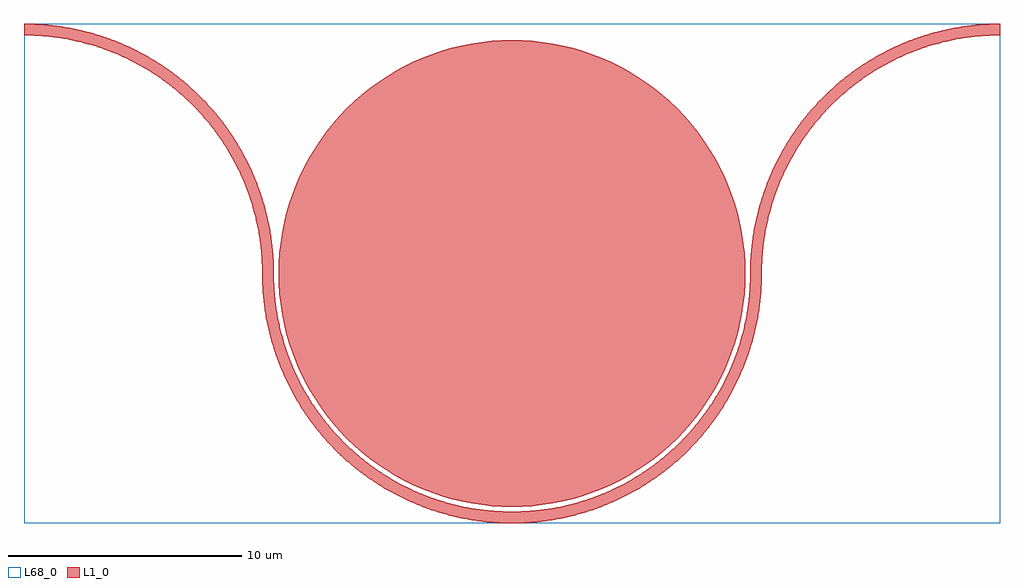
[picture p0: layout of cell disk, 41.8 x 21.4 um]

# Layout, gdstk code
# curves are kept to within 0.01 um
import gdstk
lib = gdstk.Library(unit=1e-6, precision=1e-09)
def R(c, l, rs):  # rectangles x0, y0, x1, y1
    for r in rs: c.add(gdstk.rectangle(r[:2], r[2:], *l))
def P(c, l, *ps):  # polygons
    for p in ps: c.add(gdstk.Polygon(p, *l))
L1_0 = (1, 0)
L68_0 = (68, 0)

disk = lib.new_cell('disk')
P(disk, L1_0, [(15.35,-5.101),(15.311,-4.229),(15.198,-3.364),(15.009,-2.512),(14.887,-2.093),(14.588,-1.274),(14.413,-0.874),(14.22,-0.483),(14.01,-0.101),(13.541,0.635),(13.01,1.327),(12.421,1.971),(11.777,2.56),(11.085,3.091),(10.35,3.56),(9.576,3.963),(9.176,4.138),(8.357,4.437),(7.938,4.559),(7.086,4.748),(6.221,4.861),(5.786,4.89),(5.35,4.899),(4.913,4.89),(4.478,4.861),(3.613,4.748),(2.761,4.559),(2.342,4.437),(1.523,4.138),(1.123,3.963),(0.732,3.77),(0.35,3.56),(-0.386,3.091),(-1.078,2.56),(-1.722,1.971),(-2.311,1.327),(-2.842,0.635),(-3.311,-0.101),(-3.521,-0.483),(-3.714,-0.874),(-3.889,-1.274),(-4.188,-2.093),(-4.31,-2.512),(-4.499,-3.364),(-4.612,-4.229),(-4.641,-4.664),(-4.65,-5.1),(-4.641,-5.537),(-4.612,-5.972),(-4.499,-6.837),(-4.31,-7.689),(-4.188,-8.108),(-3.889,-8.927),(-3.714,-9.327),(-3.311,-10.101),(-2.842,-10.836),(-2.311,-11.528),(-1.722,-12.172),(-1.078,-12.761),(-0.386,-13.292),(0.349,-13.761),(1.123,-14.164),(1.523,-14.339),(2.342,-14.638),(2.761,-14.76),(3.613,-14.949),(4.478,-15.062),(4.913,-15.091),(5.35,-15.1),(5.786,-15.091),(6.221,-15.062),(7.086,-14.949),(7.938,-14.76),(8.357,-14.638),(9.176,-14.339),(9.576,-14.164),(10.35,-13.761),(11.085,-13.292),(11.777,-12.761),(12.421,-12.172),(13.01,-11.528),(13.541,-10.836),(14.01,-10.101),(14.413,-9.327),(14.588,-8.927),(14.887,-8.108),(15.009,-7.689),(15.198,-6.837),(15.311,-5.972)],
  [(16.05,-5.011),(16.097,-4.117),(16.206,-3.319),(16.401,-2.446),(16.671,-1.593),(16.869,-1.094),(17.093,-0.606),(17.342,-0.13),(17.616,0.332),(17.914,0.778),(18.235,1.209),(18.578,1.622),(18.881,1.952),(18.881,2.657),(18.455,2.23),(18.019,1.737),(17.671,1.295),(17.346,0.834),(17.046,0.358),(16.686,-0.301),(16.409,-0.898),(16.202,-1.421),(15.943,-2.225),(15.748,-3.048),(15.619,-3.882),(15.556,-4.725),(15.549,-5.101),(16.05,-5.101)],
  [(18.943,2.016),(19.527,2.571),(19.94,2.914),(20.298,3.183),(21.046,3.673),(21.755,4.056),(22.243,4.28),(22.742,4.478),(23.251,4.649),(23.855,4.815),(24.468,4.943),(25,5.023),(25.623,5.08),(26.25,5.099),(26.25,5.599),(25.686,5.585),(24.938,5.519),(24.381,5.435),(23.738,5.301),(23.104,5.127),(22.57,4.947),(22.047,4.74),(21.535,4.505),(20.791,4.103),(20.159,3.697),(19.484,3.189),(18.919,2.694),(18.881,2.657),(18.881,1.952)],
  [(-8.152,2.63),(-8.498,2.947),(-8.932,3.307),(-9.307,3.589),(-9.773,3.906),(-10.255,4.197),(-10.751,4.463),(-11.608,4.847),(-12.048,5.01),(-12.495,5.154),(-13.039,5.301),(-13.498,5.401),(-13.96,5.481),(-14.519,5.55),(-14.987,5.585),(-15.551,5.599),(-15.551,5.099),(-14.924,5.08),(-14.301,5.023),(-13.769,4.943),(-13.156,4.815),(-12.552,4.649),(-12.043,4.478),(-11.544,4.28),(-11.056,4.056),(-10.347,3.673),(-9.893,3.387),(-9.526,3.13),(-8.828,2.571),(-8.498,2.268),(-8.152,1.921)],
  [(-4.851,-5.007),(-4.865,-4.537),(-4.92,-3.882),(-4.999,-3.325),(-5.087,-2.864),(-5.219,-2.316),(-5.351,-1.866),(-5.503,-1.421),(-5.71,-0.898),(-5.904,-0.47),(-6.161,0.031),(-6.444,0.518),(-6.753,0.99),(-7.085,1.444),(-7.442,1.881),(-7.82,2.298),(-8.152,2.63),(-8.152,1.921),(-7.879,1.622),(-7.536,1.209),(-7.215,0.778),(-6.917,0.332),(-6.643,-0.13),(-6.394,-0.606),(-6.17,-1.094),(-5.972,-1.593),(-5.702,-2.446),(-5.507,-3.319),(-5.427,-3.851),(-5.382,-4.296),(-5.351,-5.101),(-4.851,-5.101)],
  [(-2.034,-12.137),(-2.509,-11.604),(-3.047,-10.892),(-3.477,-10.213),(-3.89,-9.422),(-4.104,-8.932),(-4.292,-8.43),(-4.453,-7.92),(-4.588,-7.401),(-4.695,-6.877),(-4.785,-6.258),(-4.826,-5.814),(-4.851,-5.101),(-5.351,-5.101),(-5.336,-5.662),(-5.292,-6.222),(-5.203,-6.871),(-5.075,-7.514),(-4.934,-8.058),(-4.733,-8.682),(-4.532,-9.206),(-4.302,-9.719),(-3.956,-10.383),(-3.511,-11.099),(-3.012,-11.777),(-2.461,-12.414),(-2.034,-12.844)],
  [(5.394,-15.3),(4.859,-15.289),(4.325,-15.249),(3.794,-15.181),(3.267,-15.086),(2.745,-14.963),(2.317,-14.839),(1.81,-14.667),(1.395,-14.503),(0.987,-14.321),(0.509,-14.079),(0.045,-13.813),(-0.479,-13.471),(-0.839,-13.209),(-1.256,-12.873),(-1.72,-12.454),(-2.034,-12.137),(-2.034,-12.844),(-1.792,-13.069),(-1.143,-13.606),(-0.764,-13.882),(-0.374,-14.141),(0.355,-14.563),(1.115,-14.927),(1.901,-15.23),(2.347,-15.371),(2.799,-15.492),(3.625,-15.661),(4.461,-15.764),(5.394,-15.8)],
  [(5.49,-15.8),(6.145,-15.771),(6.611,-15.726),(7.259,-15.629),(7.9,-15.492),(8.531,-15.317),(9.151,-15.103),(9.756,-14.851),(10.178,-14.649),(10.914,-14.24),(11.54,-13.828),(12.135,-13.374),(12.765,-12.814),(12.765,-12.104),(12.419,-12.454),(12.09,-12.756),(11.395,-13.316),(10.654,-13.813),(9.952,-14.203),(9.386,-14.468),(8.889,-14.667),(8.382,-14.839),(7.781,-15.007),(7.17,-15.137),(6.463,-15.24),(5.84,-15.289),(5.394,-15.3),(5.394,-15.8)],
  [(12.832,-12.749),(13.16,-12.414),(13.533,-11.994),(13.883,-11.555),(14.21,-11.099),(14.513,-10.625),(14.746,-10.219),(14.961,-9.803),(15.231,-9.206),(15.401,-8.77),(15.552,-8.327),(15.707,-7.787),(15.834,-7.24),(15.917,-6.779),(15.991,-6.222),(16.035,-5.662),(16.05,-5.101),(15.549,-5.101),(15.518,-5.903),(15.409,-6.789),(15.245,-7.575),(14.991,-8.43),(14.803,-8.932),(14.589,-9.422),(14.307,-9.98),(14.085,-10.367),(13.746,-10.892),(13.485,-11.254),(13.093,-11.74),(12.765,-12.104),(12.765,-12.814)])
R(disk, L68_0, [(-15.55,-15.8,26.25,5.599)])

lib.write_gds('disk.gds')
